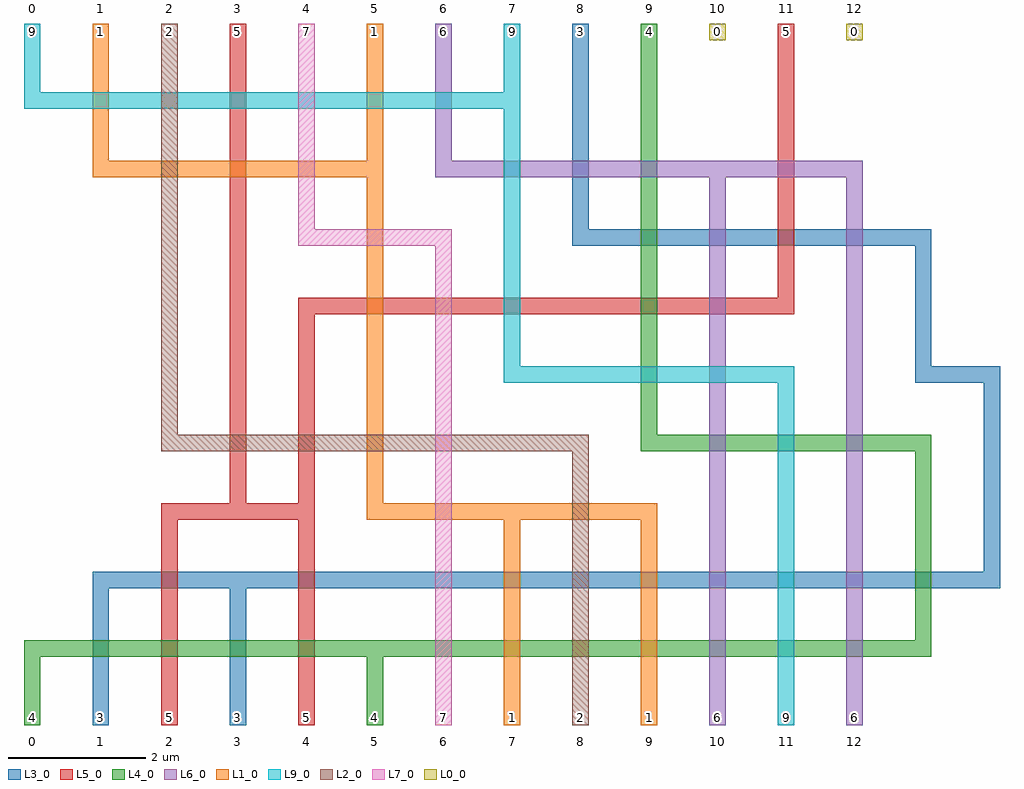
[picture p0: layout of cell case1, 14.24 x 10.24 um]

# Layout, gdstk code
import gdstk
lib = gdstk.Library(unit=1e-6, precision=1e-09)
def R(c, l, rs):  # rectangles x0, y0, x1, y1
    for r in rs: c.add(gdstk.rectangle(r[:2], r[2:], *l))
L0_0 = (0, 0)
L1_0 = (1, 0)
L2_0 = (2, 0)
L3_0 = (3, 0)
L4_0 = (4, 0)
L5_0 = (5, 0)
L6_0 = (6, 0)
L7_0 = (7, 0)
L9_0 = (9, 0)

case1 = lib.new_cell('case1')
R(case1, L0_0, [(9.88,9.88,10.12,10.12), (11.88,9.88,12.12,10.12)])
R(case1, L1_0, [(6.88,-0.12,7.12,3.12), (6.88,-0.12,7.12,0.12), (8.88,-0.12,9.12,3.12), (8.88,-0.12,9.12,0.12), (4.88,2.88,5.12,8.12), (4.88,2.88,9.12,3.12), (0.88,7.88,1.12,10.12), (0.88,7.88,5.12,8.12), (4.88,7.88,5.12,10.12), (0.88,9.88,1.12,10.12), (4.88,9.88,5.12,10.12)])
R(case1, L2_0, [(7.88,-0.12,8.12,4.12), (7.88,-0.12,8.12,0.12), (1.88,3.88,2.12,7.12), (1.88,3.88,8.12,4.12), (1.88,6.88,2.12,10.12), (1.88,9.88,2.12,10.12)])
R(case1, L3_0, [(0.88,-0.12,1.12,2.12), (0.88,-0.12,1.12,0.12), (2.88,-0.12,3.12,2.12), (2.88,-0.12,3.12,0.12), (0.88,1.88,14.12,2.12), (13.88,1.88,14.12,5.12), (12.88,4.88,13.12,7.12), (12.88,4.88,14.12,5.12), (7.88,6.88,8.12,9.12), (7.88,6.88,13.12,7.12), (7.88,8.88,8.12,10.12), (7.88,9.88,8.12,10.12)])
R(case1, L4_0, [(-0.12,-0.12,0.12,1.12), (-0.12,-0.12,0.12,0.12), (4.88,-0.12,5.12,1.12), (4.88,-0.12,5.12,0.12), (-0.12,0.88,13.12,1.12), (12.88,0.88,13.12,4.12), (8.88,3.88,9.12,9.12), (8.88,3.88,13.12,4.12), (8.88,8.88,9.12,10.12), (8.88,9.88,9.12,10.12)])
R(case1, L5_0, [(1.88,-0.12,2.12,3.12), (1.88,-0.12,2.12,0.12), (3.88,-0.12,4.12,3.12), (3.88,-0.12,4.12,0.12), (1.88,2.88,4.12,3.12), (2.88,2.88,3.12,7.12), (3.88,2.88,4.12,6.12), (3.88,5.88,11.12,6.12), (10.88,5.88,11.12,9.12), (2.88,6.88,3.12,10.12), (10.88,8.88,11.12,10.12), (2.88,9.88,3.12,10.12), (10.88,9.88,11.12,10.12)])
R(case1, L6_0, [(9.88,-0.12,10.12,3.12), (9.88,-0.12,10.12,0.12), (11.88,-0.12,12.12,3.12), (11.88,-0.12,12.12,0.12), (9.88,2.88,10.12,8.12), (11.88,2.88,12.12,8.12), (5.88,7.88,6.12,10.12), (5.88,7.88,12.12,8.12), (5.88,9.88,6.12,10.12)])
R(case1, L7_0, [(5.88,-0.12,6.12,5.12), (5.88,-0.12,6.12,0.12), (5.88,4.88,6.12,7.12), (3.88,6.88,4.12,10.12), (3.88,6.88,6.12,7.12), (3.88,9.88,4.12,10.12)])
R(case1, L9_0, [(10.88,-0.12,11.12,3.12), (10.88,-0.12,11.12,0.12), (10.88,2.88,11.12,5.12), (6.88,4.88,7.12,9.12), (6.88,4.88,11.12,5.12), (-0.12,8.88,0.12,10.12), (-0.12,8.88,7.12,9.12), (6.88,8.88,7.12,10.12), (-0.12,9.88,0.12,10.12), (6.88,9.88,7.12,10.12)])
case1.add(gdstk.Label('0', (0,10.4), layer=215, texttype=1))
case1.add(gdstk.Label('9', (0,10), layer=215, texttype=1))
case1.add(gdstk.Label('1', (1,10.4), layer=215, texttype=1))
case1.add(gdstk.Label('1', (1,10), layer=215, texttype=1))
case1.add(gdstk.Label('2', (2,10.4), layer=215, texttype=1))
case1.add(gdstk.Label('2', (2,10), layer=215, texttype=1))
case1.add(gdstk.Label('3', (3,10.4), layer=215, texttype=1))
case1.add(gdstk.Label('5', (3,10), layer=215, texttype=1))
case1.add(gdstk.Label('4', (4,10.4), layer=215, texttype=1))
case1.add(gdstk.Label('7', (4,10), layer=215, texttype=1))
case1.add(gdstk.Label('5', (5,10.4), layer=215, texttype=1))
case1.add(gdstk.Label('1', (5,10), layer=215, texttype=1))
case1.add(gdstk.Label('6', (6,10.4), layer=215, texttype=1))
case1.add(gdstk.Label('6', (6,10), layer=215, texttype=1))
case1.add(gdstk.Label('7', (7,10.4), layer=215, texttype=1))
case1.add(gdstk.Label('9', (7,10), layer=215, texttype=1))
case1.add(gdstk.Label('8', (8,10.4), layer=215, texttype=1))
case1.add(gdstk.Label('3', (8,10), layer=215, texttype=1))
case1.add(gdstk.Label('9', (9,10.4), layer=215, texttype=1))
case1.add(gdstk.Label('4', (9,10), layer=215, texttype=1))
case1.add(gdstk.Label('10', (10,10.4), layer=215, texttype=1))
case1.add(gdstk.Label('0', (10,10), layer=215, texttype=1))
case1.add(gdstk.Label('11', (11,10.4), layer=215, texttype=1))
case1.add(gdstk.Label('5', (11,10), layer=215, texttype=1))
case1.add(gdstk.Label('12', (12,10.4), layer=215, texttype=1))
case1.add(gdstk.Label('0', (12,10), layer=215, texttype=1))
case1.add(gdstk.Label('0', (0,-0.4), layer=215, texttype=1))
case1.add(gdstk.Label('4', (0,0), layer=215, texttype=1))
case1.add(gdstk.Label('1', (1,-0.4), layer=215, texttype=1))
case1.add(gdstk.Label('3', (1,0), layer=215, texttype=1))
case1.add(gdstk.Label('2', (2,-0.4), layer=215, texttype=1))
case1.add(gdstk.Label('5', (2,0), layer=215, texttype=1))
case1.add(gdstk.Label('3', (3,-0.4), layer=215, texttype=1))
case1.add(gdstk.Label('3', (3,0), layer=215, texttype=1))
case1.add(gdstk.Label('4', (4,-0.4), layer=215, texttype=1))
case1.add(gdstk.Label('5', (4,0), layer=215, texttype=1))
case1.add(gdstk.Label('5', (5,-0.4), layer=215, texttype=1))
case1.add(gdstk.Label('4', (5,0), layer=215, texttype=1))
case1.add(gdstk.Label('6', (6,-0.4), layer=215, texttype=1))
case1.add(gdstk.Label('7', (6,0), layer=215, texttype=1))
case1.add(gdstk.Label('7', (7,-0.4), layer=215, texttype=1))
case1.add(gdstk.Label('1', (7,0), layer=215, texttype=1))
case1.add(gdstk.Label('8', (8,-0.4), layer=215, texttype=1))
case1.add(gdstk.Label('2', (8,0), layer=215, texttype=1))
case1.add(gdstk.Label('9', (9,-0.4), layer=215, texttype=1))
case1.add(gdstk.Label('1', (9,0), layer=215, texttype=1))
case1.add(gdstk.Label('10', (10,-0.4), layer=215, texttype=1))
case1.add(gdstk.Label('6', (10,0), layer=215, texttype=1))
case1.add(gdstk.Label('11', (11,-0.4), layer=215, texttype=1))
case1.add(gdstk.Label('9', (11,0), layer=215, texttype=1))
case1.add(gdstk.Label('12', (12,-0.4), layer=215, texttype=1))
case1.add(gdstk.Label('6', (12,0), layer=215, texttype=1))

lib.write_gds('case1.gds')
